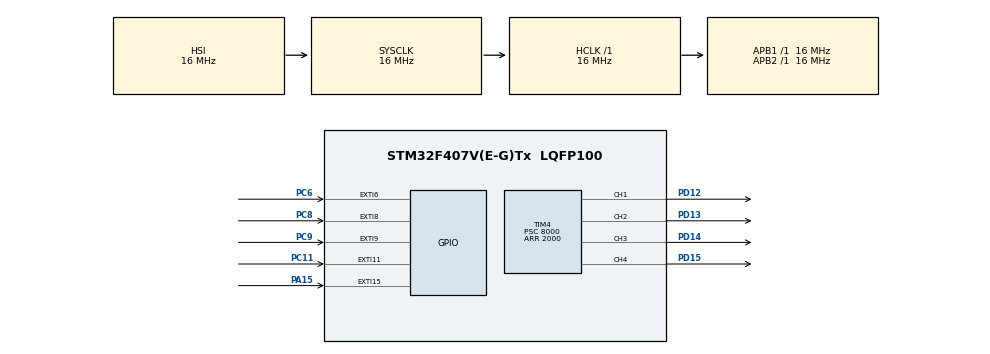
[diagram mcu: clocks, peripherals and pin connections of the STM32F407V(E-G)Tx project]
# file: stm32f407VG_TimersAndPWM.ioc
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Mcu.Family=STM32F4
Mcu.Name=STM32F407V(E-G)Tx
Mcu.Package=LQFP100
NVIC.EXTI15_10_IRQn=true\:0\:0\:false\:false\:true\:true\:true
NVIC.EXTI9_5_IRQn=true\:0\:0\:false\:false\:true\:true\:true
NVIC.PriorityGroup=NVIC_PRIORITYGROUP_4
NVIC.TIM4_IRQn=true\:0\:0\:false\:false\:true\:true\:true
PA15.GPIO_ModeDefaultEXTI=GPIO_MODE_IT_FALLING
PA15.Signal=GPXTI15
PC11.GPIO_ModeDefaultEXTI=GPIO_MODE_IT_FALLING
PC11.Signal=GPXTI11
PC6.GPIO_ModeDefaultEXTI=GPIO_MODE_IT_FALLING
PC6.Signal=GPXTI6
PC8.GPIO_ModeDefaultEXTI=GPIO_MODE_IT_FALLING
PC8.Signal=GPXTI8
PC9.GPIO_ModeDefaultEXTI=GPIO_MODE_IT_FALLING
PC9.Signal=GPXTI9
PD12.Signal=S_TIM4_CH1
PD13.Signal=S_TIM4_CH2
PD14.Signal=S_TIM4_CH3
PD15.Signal=S_TIM4_CH4
PH0-OSC_IN.Mode=HSE-External-Oscillator
PH0-OSC_IN.Signal=RCC_OSC_IN
PH1-OSC_OUT.Mode=HSE-External-Oscillator
PH1-OSC_OUT.Signal=RCC_OSC_OUT
ProjectManager.HeapSize=0x200
ProjectManager.StackSize=0x400
ProjectManager.TargetToolchain=STM32CubeIDE
RCC.48MHZClocksFreq_Value=24000000
RCC.AHBFreq_Value=16000000
RCC.APB1Freq_Value=16000000
RCC.APB2Freq_Value=16000000
RCC.CortexFreq_Value=16000000
RCC.HSE_VALUE=8000000
RCC.HSI_VALUE=16000000
RCC.LSE_VALUE=32768
RCC.PLLSourceVirtual=RCC_PLLSOURCE_HSE
RCC.SYSCLKFreq_VALUE=16000000
RCC.VCOOutputFreq_Value=96000000
SH.S_TIM4_CH1.0=TIM4_CH1,PWM Generation1 CH1
SH.S_TIM4_CH2.0=TIM4_CH2,PWM Generation2 CH2
SH.S_TIM4_CH3.0=TIM4_CH3,PWM Generation3 CH3
SH.S_TIM4_CH4.0=TIM4_CH4,PWM Generation4 CH4
TIM4.Channel-PWM\ Generation1\ CH1=TIM_CHANNEL_1
TIM4.Channel-PWM\ Generation2\ CH2=TIM_CHANNEL_2
TIM4.Channel-PWM\ Generation3\ CH3=TIM_CHANNEL_3
TIM4.Channel-PWM\ Generation4\ CH4=TIM_CHANNEL_4
TIM4.Period=2000
TIM4.Prescaler=8000
TIM4.Pulse-PWM\ Generation1\ CH1=100
TIM4.Pulse-PWM\ Generation2\ CH2=100
TIM4.Pulse-PWM\ Generation3\ CH3=100
TIM4.Pulse-PWM\ Generation4\ CH4=100
VP_TIM4_VS_ClockSourceINT.Mode=Internal
board=custom

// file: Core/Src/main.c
/* USER CODE BEGIN Header */
/**
  ******************************************************************************
  * @file           : main.c
  * @brief          : Main program body
  ******************************************************************************
  * @attention
  *
  * <h2><center>&copy; Copyright (c) 2021 STMicroelectronics.
  * All rights reserved.</center></h2>
  *
  * This software component is licensed by ST under BSD 3-Clause license,
  * the "License"; You may not use this file except in compliance with the
  * License. You may obtain a copy of the License at:
  *                        opensource.org/licenses/BSD-3-Clause
  *
  ******************************************************************************
  */
/* USER CODE END Header */
#include "main.h"

TIM_HandleTypeDef htim4;

void SystemClock_Config(void);
static void MX_GPIO_Init(void);
static void MX_TIM4_Init(void);

int main(void)
{

  /* MCU Configuration--------------------------------------------------------*/

  /* Reset of all peripherals, Initializes the Flash interface and the Systick. */
  HAL_Init();

  /* Configure the system clock */
  SystemClock_Config();

  /* Initialize all configured peripherals */
  MX_GPIO_Init();
  MX_TIM4_Init();
  /* USER CODE BEGIN 2 */
  //HAL_TIM_Base_Start_IT(&htim4);

  /* USER CODE END 2 */

  /* Infinite loop */
  /* USER CODE BEGIN WHILE */
  while (1)
  {
	  TIM4->PSC = get_frequency(); //freq HSE = 8 Mhz => 8 Mhz / 1600 = 5 kHz;

	  TIM4->CCR1 = get_pwmWidth();
	  TIM4->CCR2 = get_pwmWidth();
	  TIM4->CCR3 = get_pwmWidth();
	  TIM4->CCR4 = get_pwmWidth();

	  switch(get_counter())
	     {
	  	  	case 1:
	  	  	  HAL_TIM_PWM_Start(&htim4, TIM_CHANNEL_1);
	  	  	  break;
	  	  	case 2:
	  	  	  HAL_TIM_PWM_Start(&htim4, TIM_CHANNEL_2);
	  	  	  break;
	  	    case 3:
	  	  	  HAL_TIM_PWM_Start(&htim4, TIM_CHANNEL_3);
	  	  	  break;
	  	    case 4:
	  		  HAL_TIM_PWM_Start(&htim4, TIM_CHANNEL_4);
	  		  break;
	  	    case 5:
	  	  	  HAL_TIM_PWM_Stop(&htim4, TIM_CHANNEL_1);
	  	  	  HAL_TIM_PWM_Stop(&htim4, TIM_CHANNEL_2);
	  	  	  HAL_TIM_PWM_Stop(&htim4, TIM_CHANNEL_3);
	  	  	  HAL_TIM_PWM_Stop(&htim4, TIM_CHANNEL_4);
	  	  	  break;
	     }
//	  HAL_Delay(1000);
//	  HAL_GPIO_TogglePin(GPIOD, GPIO_PIN_15);
    /* USER CODE END WHILE */

  }
}

void SystemClock_Config(void)
{
  RCC_OscInitTypeDef RCC_OscInitStruct = {0};
  RCC_ClkInitTypeDef RCC_ClkInitStruct = {0};

  /** Configure the main internal regulator output voltage
  */
  __HAL_RCC_PWR_CLK_ENABLE();
  __HAL_PWR_VOLTAGESCALING_CONFIG(PWR_REGULATOR_VOLTAGE_SCALE1);
  /** Initializes the RCC Oscillators according to the specified parameters
  * in the RCC_OscInitTypeDef structure.
  */
  RCC_OscInitStruct.OscillatorType = RCC_OSCILLATORTYPE_HSI;
  RCC_OscInitStruct.HSIState = RCC_HSI_ON;
  RCC_OscInitStruct.HSICalibrationValue = RCC_HSICALIBRATION_DEFAULT;
  RCC_OscInitStruct.PLL.PLLState = RCC_PLL_NONE;
  if (HAL_RCC_OscConfig(&RCC_OscInitStruct) != HAL_OK)
  {
    Error_Handler();
  }
  /** Initializes the CPU, AHB and APB buses clocks
  */
  RCC_ClkInitStruct.ClockType = RCC_CLOCKTYPE_HCLK|RCC_CLOCKTYPE_SYSCLK
                              |RCC_CLOCKTYPE_PCLK1|RCC_CLOCKTYPE_PCLK2;
  RCC_ClkInitStruct.SYSCLKSource = RCC_SYSCLKSOURCE_HSI;
  RCC_ClkInitStruct.AHBCLKDivider = RCC_SYSCLK_DIV1;
  RCC_ClkInitStruct.APB1CLKDivider = RCC_HCLK_DIV1;
  RCC_ClkInitStruct.APB2CLKDivider = RCC_HCLK_DIV1;

  if (HAL_RCC_ClockConfig(&RCC_ClkInitStruct, FLASH_LATENCY_0) != HAL_OK)
  {
    Error_Handler();
  }
}

static void MX_TIM4_Init(void)
{

  TIM_ClockConfigTypeDef sClockSourceConfig = {0};
  TIM_MasterConfigTypeDef sMasterConfig = {0};
  TIM_OC_InitTypeDef sConfigOC = {0};

  htim4.Instance = TIM4;
  htim4.Init.Prescaler = 8000;
  htim4.Init.CounterMode = TIM_COUNTERMODE_UP;
  htim4.Init.Period = 2000;
  htim4.Init.ClockDivision = TIM_CLOCKDIVISION_DIV1;
  htim4.Init.AutoReloadPreload = TIM_AUTORELOAD_PRELOAD_DISABLE;
  if (HAL_TIM_Base_Init(&htim4) != HAL_OK)
  {
    Error_Handler();
  }
  sClockSourceConfig.ClockSource = TIM_CLOCKSOURCE_INTERNAL;
  if (HAL_TIM_ConfigClockSource(&htim4, &sClockSourceConfig) != HAL_OK)
  {
    Error_Handler();
  }
  if (HAL_TIM_PWM_Init(&htim4) != HAL_OK)
  {
    Error_Handler();
  }
  sMasterConfig.MasterOutputTrigger = TIM_TRGO_RESET;
  sMasterConfig.MasterSlaveMode = TIM_MASTERSLAVEMODE_DISABLE;
  if (HAL_TIMEx_MasterConfigSynchronization(&htim4, &sMasterConfig) != HAL_OK)
  {
    Error_Handler();
  }
  sConfigOC.OCMode = TIM_OCMODE_PWM1;
  sConfigOC.Pulse = 100;
  sConfigOC.OCPolarity = TIM_OCPOLARITY_HIGH;
  sConfigOC.OCFastMode = TIM_OCFAST_DISABLE;
  if (HAL_TIM_PWM_ConfigChannel(&htim4, &sConfigOC, TIM_CHANNEL_1) != HAL_OK)
  {
    Error_Handler();
  }
  if (HAL_TIM_PWM_ConfigChannel(&htim4, &sConfigOC, TIM_CHANNEL_2) != HAL_OK)
  {
    Error_Handler();
  }
  if (HAL_TIM_PWM_ConfigChannel(&htim4, &sConfigOC, TIM_CHANNEL_3) != HAL_OK)
  {
    Error_Handler();
  }
  if (HAL_TIM_PWM_ConfigChannel(&htim4, &sConfigOC, TIM_CHANNEL_4) != HAL_OK)
  {
    Error_Handler();
  }
  HAL_TIM_MspPostInit(&htim4);

}

static void MX_GPIO_Init(void)
{
  GPIO_InitTypeDef GPIO_InitStruct = {0};

  /* GPIO Ports Clock Enable */
  __HAL_RCC_GPIOH_CLK_ENABLE();
  __HAL_RCC_GPIOD_CLK_ENABLE();
  __HAL_RCC_GPIOC_CLK_ENABLE();
  __HAL_RCC_GPIOA_CLK_ENABLE();

  /*Configure GPIO pins : PC6 PC8 PC9 PC11 */
  GPIO_InitStruct.Pin = GPIO_PIN_6|GPIO_PIN_8|GPIO_PIN_9|GPIO_PIN_11;
  GPIO_InitStruct.Mode = GPIO_MODE_IT_FALLING;
  GPIO_InitStruct.Pull = GPIO_NOPULL;
  HAL_GPIO_Init(GPIOC, &GPIO_InitStruct);

  /*Configure GPIO pin : PA15 */
  GPIO_InitStruct.Pin = GPIO_PIN_15;
  GPIO_InitStruct.Mode = GPIO_MODE_IT_FALLING;
  GPIO_InitStruct.Pull = GPIO_NOPULL;
  HAL_GPIO_Init(GPIOA, &GPIO_InitStruct);

  /* EXTI interrupt init*/
  HAL_NVIC_SetPriority(EXTI9_5_IRQn, 0, 0);
  HAL_NVIC_EnableIRQ(EXTI9_5_IRQn);

  HAL_NVIC_SetPriority(EXTI15_10_IRQn, 0, 0);
  HAL_NVIC_EnableIRQ(EXTI15_10_IRQn);

}

void Error_Handler(void)
{
  __disable_irq();
  while (1)
  {
  }
}

/************************ (C) COPYRIGHT STMicroelectronics *****END OF FILE****/
